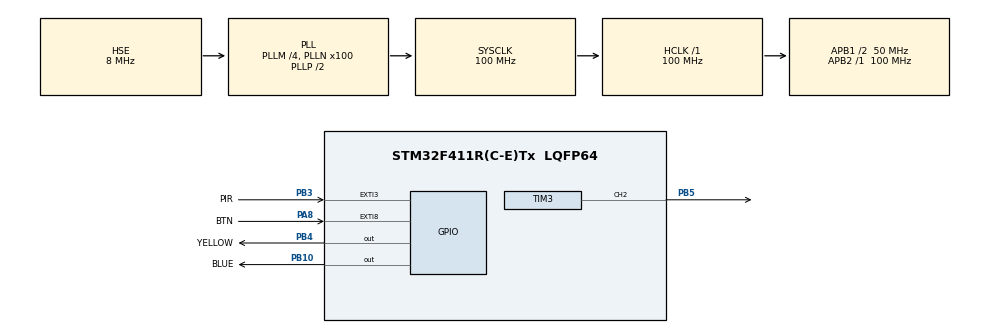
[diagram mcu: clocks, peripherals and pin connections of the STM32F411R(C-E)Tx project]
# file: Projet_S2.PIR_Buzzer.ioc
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Mcu.Family=STM32F4
Mcu.Name=STM32F411R(C-E)Tx
Mcu.Package=LQFP64
NVIC.EXTI3_IRQn=true\:0\:0\:false\:false\:true\:true\:true\:true
NVIC.EXTI9_5_IRQn=true\:0\:0\:false\:false\:true\:true\:true\:true
NVIC.PriorityGroup=NVIC_PRIORITYGROUP_4
NVIC.TIM2_IRQn=true\:0\:0\:false\:false\:true\:true\:true\:true
NVIC.TIM5_IRQn=true\:0\:0\:false\:false\:true\:true\:true\:true
PA13.Mode=Serial_Wire
PA13.Signal=SYS_JTMS-SWDIO
PA14.Mode=Serial_Wire
PA14.Signal=SYS_JTCK-SWCLK
PA8.GPIO_Label=BTN
PA8.GPIO_ModeDefaultEXTI=GPIO_MODE_IT_FALLING
PA8.GPIO_PuPd=GPIO_PULLDOWN
PA8.Signal=GPXTI8
PB10.GPIO_Label=BLUE
PB10.Signal=GPIO_Output
PB3.GPIO_Label=PIR
PB3.GPIO_ModeDefaultEXTI=GPIO_MODE_IT_RISING
PB3.GPIO_PuPd=GPIO_PULLDOWN
PB3.Signal=GPXTI3
PB4.GPIO_Label=YELLOW
PB4.GPIO_PuPd=GPIO_NOPULL
PB4.Signal=GPIO_Output
PB5.Signal=S_TIM3_CH2
PH0\ -\ OSC_IN.Mode=HSE-External-Oscillator
PH0\ -\ OSC_IN.Signal=RCC_OSC_IN
PH1\ -\ OSC_OUT.Mode=HSE-External-Oscillator
PH1\ -\ OSC_OUT.Signal=RCC_OSC_OUT
ProjectManager.HeapSize=0x200
ProjectManager.StackSize=0x400
ProjectManager.TargetToolchain=STM32CubeIDE
RCC.48MHZClocksFreq_Value=50000000
RCC.AHBFreq_Value=100000000
RCC.APB1CLKDivider=RCC_HCLK_DIV2
RCC.APB1Freq_Value=50000000
RCC.APB1TimFreq_Value=100000000
RCC.APB2Freq_Value=100000000
RCC.APB2TimFreq_Value=100000000
RCC.CortexFreq_Value=100000000
RCC.HCLKFreq_Value=100000000
RCC.HSE_VALUE=8000000
RCC.HSI_VALUE=16000000
RCC.LSE_VALUE=32768
RCC.PLLM=4
RCC.PLLN=100
RCC.PLLSourceVirtual=RCC_PLLSOURCE_HSE
RCC.SYSCLKFreq_VALUE=100000000
RCC.SYSCLKSource=RCC_SYSCLKSOURCE_PLLCLK
RCC.VCOOutputFreq_Value=200000000
SH.S_TIM3_CH2.0=TIM3_CH2,PWM Generation2 CH2
TIM2.Period=40000-1
TIM2.Prescaler=10000-1
TIM3.Channel-PWM\ Generation2\ CH2=TIM_CHANNEL_2
TIM3.Period=22728
TIM3.Prescaler=10-1
TIM3.Pulse-PWM\ Generation2\ CH2=11364-1
TIM5.Period=500-1
TIM5.Prescaler=10000-1
VP_TIM2_VS_ClockSourceINT.Mode=Internal
VP_TIM3_VS_ClockSourceINT.Mode=Internal
VP_TIM5_VS_ClockSourceINT.Mode=Internal
board=custom

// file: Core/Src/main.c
/* USER CODE BEGIN Header */
/**
  ******************************************************************************
  * @file           : main.c
  * @brief          : Main program body
  ******************************************************************************
  * @attention
  *
  * Copyright (c) 2026 STMicroelectronics.
  * All rights reserved.
  *
  * This software is licensed under terms that can be found in the LICENSE file
  * in the root directory of this software component.
  * If no LICENSE file comes with this software, it is provided AS-IS.
  *
  ******************************************************************************
  */
/* USER CODE END Header */
#include "main.h"
#include "tim.h"
#include "gpio.h"

/* USER CODE BEGIN Includes */
#include "stdbool.h"
/* USER CODE END Includes */

/* USER CODE BEGIN PD */
#define HOME true
#define AWAY false
#define OFF false
#define ON true

#define FREQ_TIM5 20
#define FREQ_LED_ALARM 2

/* USER CODE END PD */

/* USER CODE BEGIN PV */
volatile bool mode = HOME;
volatile bool buzzer = false;
volatile bool alarm = OFF;
volatile bool presence_detectee = false;
volatile bool falling_edge_detected = false;
volatile int blink_counter = 0;

/* USER CODE END PV */

void SystemClock_Config(void);

int main(void)
{

  /* MCU Configuration--------------------------------------------------------*/

  /* Reset of all peripherals, Initializes the Flash interface and the Systick. */

	HAL_Init();

  /* Configure the system clock */
  SystemClock_Config();

  /* Initialize all configured peripherals */
  MX_GPIO_Init();
  MX_TIM2_Init();
  MX_TIM3_Init();
  MX_TIM5_Init();
  /* USER CODE BEGIN 2 */
  HAL_TIM_Base_Start_IT(&htim5);
  HAL_TIM_Base_Start_IT(&htim2);
  HAL_TIM_PWM_Start(&htim3, TIM_CHANNEL_2);
  /* USER CODE END 2 */

  /* Infinite loop */
  while (1)
  {

    /* USER CODE BEGIN 3 */
	if (mode == HOME) {
		alarm = OFF;
	}
	if ( mode == AWAY) {
		if (presence_detectee) {
			alarm = ON;
			presence_detectee = false;
		}
	}

	if (alarm == OFF) {
		buzzer = false;
	 	HAL_GPIO_WritePin(YELLOW_GPIO_Port, YELLOW_Pin, 0);
	}

	if (buzzer) {
		HAL_TIM_PWM_Start(&htim3, TIM_CHANNEL_2);
	} else {
		HAL_TIM_PWM_Stop(&htim3, TIM_CHANNEL_2);
	}
  }

  /* USER CODE END 3 */
}

void SystemClock_Config(void)
{
  RCC_OscInitTypeDef RCC_OscInitStruct = {0};
  RCC_ClkInitTypeDef RCC_ClkInitStruct = {0};

  /** Configure the main internal regulator output voltage
  */
  __HAL_RCC_PWR_CLK_ENABLE();
  __HAL_PWR_VOLTAGESCALING_CONFIG(PWR_REGULATOR_VOLTAGE_SCALE1);

  /** Initializes the RCC Oscillators according to the specified parameters
  * in the RCC_OscInitTypeDef structure.
  */
  RCC_OscInitStruct.OscillatorType = RCC_OSCILLATORTYPE_HSE;
  RCC_OscInitStruct.HSEState = RCC_HSE_ON;
  RCC_OscInitStruct.PLL.PLLState = RCC_PLL_ON;
  RCC_OscInitStruct.PLL.PLLSource = RCC_PLLSOURCE_HSE;
  RCC_OscInitStruct.PLL.PLLM = 4;
  RCC_OscInitStruct.PLL.PLLN = 100;
  RCC_OscInitStruct.PLL.PLLP = RCC_PLLP_DIV2;
  RCC_OscInitStruct.PLL.PLLQ = 4;
  if (HAL_RCC_OscConfig(&RCC_OscInitStruct) != HAL_OK)
  {
    Error_Handler();
  }

  /** Initializes the CPU, AHB and APB buses clocks
  */
  RCC_ClkInitStruct.ClockType = RCC_CLOCKTYPE_HCLK|RCC_CLOCKTYPE_SYSCLK
                              |RCC_CLOCKTYPE_PCLK1|RCC_CLOCKTYPE_PCLK2;
  RCC_ClkInitStruct.SYSCLKSource = RCC_SYSCLKSOURCE_PLLCLK;
  RCC_ClkInitStruct.AHBCLKDivider = RCC_SYSCLK_DIV1;
  RCC_ClkInitStruct.APB1CLKDivider = RCC_HCLK_DIV2;
  RCC_ClkInitStruct.APB2CLKDivider = RCC_HCLK_DIV1;

  if (HAL_RCC_ClockConfig(&RCC_ClkInitStruct, FLASH_LATENCY_3) != HAL_OK)
  {
    Error_Handler();
  }
}

/* USER CODE BEGIN 4 */

void debounce_filter() {
	if (falling_edge_detected && !HAL_GPIO_ReadPin(BTN_GPIO_Port, BTN_Pin)) {
		mode = !mode;
		falling_edge_detected = false;
	}
}

void update_LED_alarme() {
	if (alarm == ON) {
		blink_counter ++;
		if (blink_counter == FREQ_TIM5/(2*FREQ_LED_ALARM)) {
			HAL_GPIO_TogglePin(YELLOW_GPIO_Port, YELLOW_Pin);
			buzzer = !buzzer;
			blink_counter = 0;
		}
	}
}

// INterruption des GPIO
void HAL_GPIO_EXTI_Callback(uint16_t GPIO_Pin){
	// Bouton avec Debounce
	if (GPIO_Pin == BTN_Pin)
	{
		if (!falling_edge_detected) {
			falling_edge_detected = true;
			__HAL_TIM_SET_COUNTER(&htim5, 0);
		}
	}
	// PIR mouvement détecté
	if (GPIO_Pin == PIR_Pin)
	{
		if (mode == AWAY){
			presence_detectee = true;
		}
	}
}

void HAL_TIM_PeriodElapsedCallback(TIM_HandleTypeDef *htim)
{
	// TIM 5 -> PER = 50ms pour le debounce et compter des periodes de clignotement du buzzer et de la LED d'alarme
	if (htim->Instance == TIM5)
	{
		debounce_filter();
		update_LED_alarme();

	}
	// TIM 2 -> PER = 4s pour l'échantillonnage des capteurs
	if (htim->Instance == TIM2)
	{
		HAL_GPIO_TogglePin(BLUE_GPIO_Port, BLUE_Pin);
	}
}
/* USER CODE END 4 */

void Error_Handler(void)
{
  __disable_irq();
  while (1)
  {
  }
}
